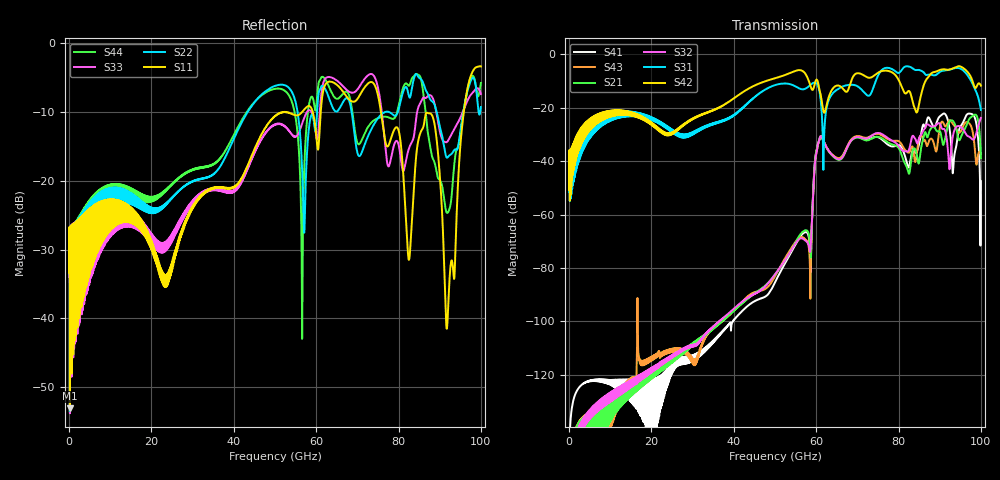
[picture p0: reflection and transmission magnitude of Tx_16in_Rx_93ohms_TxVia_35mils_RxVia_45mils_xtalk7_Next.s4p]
! Info: Touchstone file created by Circ.  Input file=Tx_16in_Rx_93ohms_TxVia_35mils_RxVia_45mils.circ
# Hz S RI R 50
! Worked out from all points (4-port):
!   10000 points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, 10 MHz to 100 GHz, reference 50 ohm
!   strongest paths, dB at 10 MHz, 25.01 GHz, 50.01 GHz, 75.01 GHz, 100 GHz:
!     S42: -50.7, -29.7, -8.9, -6.9, -11.7
!     S31: -51.5, -29.2, -11.5, -8.0, -20.8
!     S32: -180.5, -113.0, -82.3, -29.4, -23.8
!     S21: -175.7, -113.3, -82.4, -30.8, -38.9
!     S43: -175.2, -110.4, -83.1, -29.7, -37.2
!     S41: -162.3, -115.3, -85.4, -31.0, -47.4
!   lowest |S11| = -53.1 dB at 200 MHz (marker M1), VSWR 1.00, Z = 49.8 + j0.0181 ohm
!   |S11| at or under -10 dB: start of sweep to 51.78 GHz; 53.05 GHz to 56.54 GHz (3.493 GHz wide, 6.38 % of centre); 75.74 GHz to 95.85 GHz (20.11 GHz wide, 23.4 % of centre)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
1e7  0.0214 -0.00198  1.24e-09 1.07e-09  0.000647 0.00259  5.58e-09 5.27e-09
     1.24e-09 1.07e-09  0.021 -0.00288  6.28e-10 7.09e-10  0.000682 0.00284
     0.000647 0.00259  6.28e-10 7.09e-10  0.0199 -0.00264  1.31e-09 1.15e-09
     5.58e-09 5.27e-09  0.000682 0.00284  1.31e-09 1.15e-09  0.0206 -0.00286
2e8  -0.00222 0.000182  5.19e-09 1.76e-08  0.00168 0.00409  2.31e-08 8.36e-08
     5.19e-09 1.76e-08  -0.00209 0.000332  2.64e-09 1.13e-08  0.0016 0.00412
     0.00168 0.00409  2.64e-09 1.13e-08  -0.00202 0.000279  5.37e-09 1.83e-08
     2.31e-08 8.36e-08  0.0016 0.00412  5.37e-09 1.83e-08  -0.00205 0.000468
5.093e10  0.0773 0.2986  1.24e-05 -9.28e-05  0.2071 0.1854  1.49e-05 -7.34e-05
          1.24e-05 -9.28e-05  0.4525 0.212  -1.04e-07 -9.54e-05  0.3506 -0.1383
          0.2071 0.1854  -1.04e-07 -9.54e-05  0.0845 0.2448  -3.37e-06 -9.52e-05
          1.49e-05 -7.34e-05  0.3506 -0.1383  -3.37e-06 -9.52e-05  0.4327 0.1812
6.094e10  0.2194 0.1477  0.0227 0.0179  -0.1738 -0.0214  0.0218 0.0175
          0.0227 0.0179  0.4269 -0.1803  0.0234 0.0164  0.0364 0.1965
          -0.1738 -0.0214  0.0234 0.0164  0.2482 0.2284  0.0226 0.0161
          0.0218 0.0175  0.0364 0.1965  0.0226 0.0161  0.499 -0.2098
7.338e10  -0.2953 -0.4338  -0.0102 0.0242  -0.00307 0.1903  -0.00915 0.0253
          -0.0102 0.0242  -0.0512 0.2319  -0.0104 0.0279  0.2994 -0.2203
          -0.00307 0.1903  -0.0104 0.0279  -0.3836 -0.4615  -0.00923 0.0285
          -0.00915 0.0253  0.2994 -0.2203  -0.00923 0.0285  -0.0664 0.257
9.177e10  0.00605 -0.00604  -0.0355 -0.0178  0.4148 -0.293  0.0382 0.0538
          -0.0355 -0.0178  0.1442 0.0323  0.00344 0.0239  0.407 -0.3159
          0.4148 -0.293  0.00344 0.0239  0.1888 -0.0359  -0.0496 -0.00305
          0.0382 0.0538  0.407 -0.3159  -0.0496 -0.00305  0.0577 0.0101
1e11  -0.5737 0.3689  -0.0113 0.00129  0.0627 0.0664  -0.00253 -0.00341
      -0.0113 0.00129  -0.3431 0.0353  0.0232 0.0605  0.0181 0.2604
      0.0627 0.0664  0.0232 0.0605  -0.3084 0.2983  -0.00751 -0.0116
      -0.00253 -0.00341  0.0181 0.2604  -0.00751 -0.0116  -0.5103 0.0764
